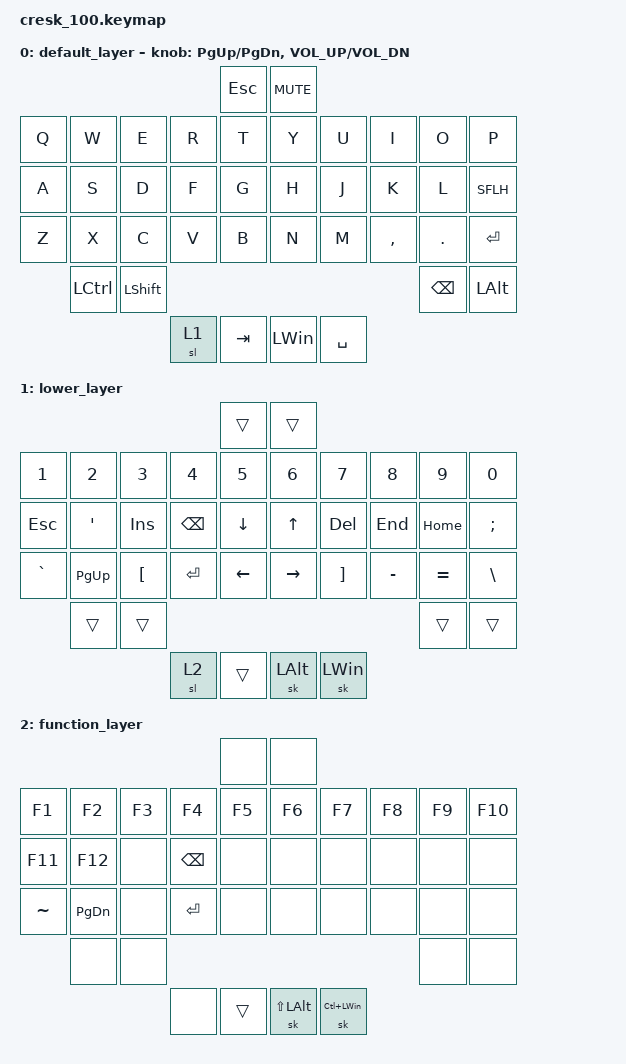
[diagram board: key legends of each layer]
/*
 * Copyright (c) 2022 The ZMK Contributors
 *
 * SPDX-License-Identifier: MIT
 */

#include <behaviors.dtsi>
#include <dt-bindings/zmk/keys.h>

&sk {
    release-after-ms = <1000>;
    quick-release;
};

&sl {
    release-after-ms = <1000>;
};

/ {
    keymap {
        compatible = "zmk,keymap";

        default_layer {
            bindings = <
                                       &kp ESC    &kp C_MUTE
&kp Q      &kp W     &kp E    &kp R    &kp T         &kp Y        &kp U        &kp I     &kp O     &kp P
&kp A      &kp S     &kp D    &kp F    &kp G         &kp H        &kp J        &kp K     &kp L     &kp SFLH
&kp Z      &kp X     &kp C    &kp V    &kp B         &kp N        &kp M        &kp COMMA &kp DOT   &kp RET
           &kp LCTRL     &kp LSHIFT                                                     &kp BSPC     &kp LALT
                              &sl 1    &kp TAB     &kp LWIN   &kp SPACE
            >;

            sensor-bindings = <&inc_dec_kp PG_UP PG_DN
                               &inc_dec_kp C_VOL_UP C_VOL_DN>;
        }
;
        lower_layer {
            bindings = <
                                       &trans        &trans
&kp N1     &kp N2    &kp N3   &kp N4   &kp N5        &kp N6       &kp N7       &kp N8    &kp N9    &kp N0
&kp ESC    &kp SQT   &kp INS &kp BSPC &kp DOWN       &kp UP       &kp DEL      &kp END   &kp HOME  &kp SEMI
&kp GRAVE  &kp PG_UP &kp LBKT &kp RET  &kp LEFT      &kp RIGHT    &kp RBKT     &kp MINUS &kp EQUAL &kp BSLH
           &trans    &trans                                                    &trans    &trans
                              &sl 2    &trans        &sk LALT     &sk LWIN
            >;
        };

        function_layer {
            bindings = <
                                       &none         &none
&kp F1     &kp F2    &kp F3   &kp F4   &kp F5        &kp F6       &kp F7       &kp F8    &kp F9    &kp F10
&kp F11    &kp F12   &none    &kp BSPC &none         &none        &none        &none     &none     &none
&kp TILDE  &kp PG_DN &none    &kp RET  &none         &none        &none        &none     &none     &none
           &none     &none                                                     &none     &none
                              &none    &trans        &sk LS(LALT) &sk LC(LWIN)
            >;
        };
    };
};
